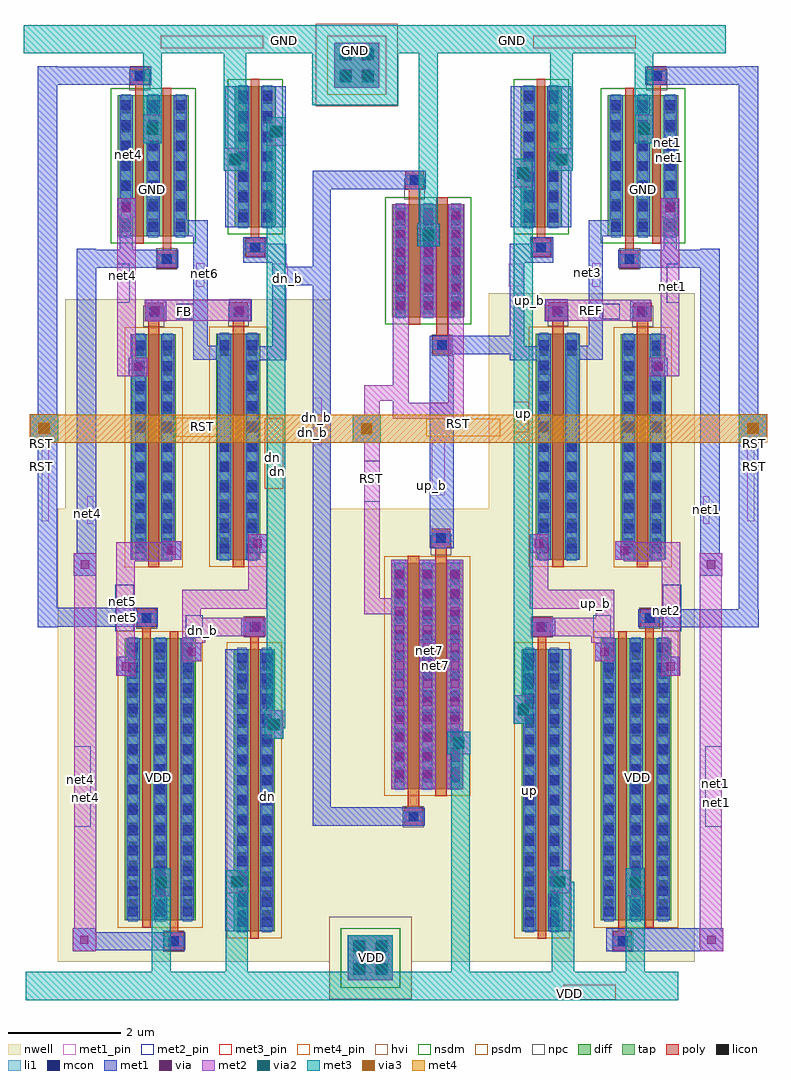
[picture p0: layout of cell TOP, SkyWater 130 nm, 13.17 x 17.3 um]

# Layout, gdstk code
from math import pi, radians
import gdstk
lib = gdstk.Library(unit=1e-6, precision=1e-09)
def R(c, l, rs):  # rectangles x0, y0, x1, y1
    for r in rs: c.add(gdstk.rectangle(r[:2], r[2:], *l))
def A(c, l, x, y, w, h, nx, ny, dx, dy):  # array of equal rectangles
    R(c, l, [(x+i*dx, y+j*dy, x+i*dx+w, y+j*dy+h) for i in range(nx) for j in range(ny)])
def P(c, l, *ps):  # polygons
    for p in ps: c.add(gdstk.Polygon(p, *l))
nwell = (64, 20)
diff = (65, 20)
tap = (65, 44)
poly = (66, 20)
licon = (66, 44)
li1 = (67, 20)
mcon = (67, 44)
met1_pin = (68, 16)
met1 = (68, 20)
via = (68, 44)
met2_pin = (69, 16)
met2 = (69, 20)
via2 = (69, 44)
met3_pin = (70, 16)
met3 = (70, 20)
via3 = (70, 44)
met4_pin = (71, 16)
met4 = (71, 20)
hvi = (75, 20)
nsdm = (93, 44)
psdm = (94, 20)
npc = (95, 20)

via_new_1 = lib.new_cell('via_new$1')
R(via_new_1, via, [(0.115,-0.075,0.265,0.075)])
via_new_1.add(gdstk.FlexPath([(0,0),(0.38,0)], 0.38, ends="flush", simple_path=True, layer=68, datatype=20))  # met1
via_new_1.add(gdstk.FlexPath([(0,0),(0.38,0)], 0.38, ends="flush", simple_path=True, layer=69, datatype=20))  # met2

via_new_4 = lib.new_cell('via_new$4')
R(via_new_4, via, [(0.09,-0.075,0.24,0.075)])
via_new_4.add(gdstk.FlexPath([(0,0),(0.33,0)], 0.33, ends="flush", simple_path=True, layer=68, datatype=20))  # met1
via_new_4.add(gdstk.FlexPath([(0,0),(0.33,0)], 0.33, ends="flush", simple_path=True, layer=69, datatype=20))  # met2

via_new_3 = lib.new_cell('via_new$3')
R(via_new_3, via, [(0.175,-0.075,0.325,0.075)])
R(via_new_3, via2, [(0.15,-0.1,0.35,0.1)])
via_new_3.add(gdstk.FlexPath([(0,0),(0.5,0)], 0.33, ends="flush", simple_path=True, layer=68, datatype=20))  # met1
via_new_3.add(gdstk.FlexPath([(0,0),(0.5,0)], 0.33, ends="flush", simple_path=True, layer=69, datatype=20))  # met2
via_new_3.add(gdstk.FlexPath([(0,0),(0.5,0)], 0.33, ends="flush", simple_path=True, layer=70, datatype=20))  # met3

via_new = lib.new_cell('via_new')
R(via_new, via, [(0.125,-0.075,0.275,0.075)])
R(via_new, via2, [(0.1,-0.1,0.3,0.1)])
via_new.add(gdstk.FlexPath([(0,0),(0.4,0)], 0.4, ends="flush", simple_path=True, layer=68, datatype=20))  # met1
via_new.add(gdstk.FlexPath([(0,0),(0.4,0)], 0.4, ends="flush", simple_path=True, layer=69, datatype=20))  # met2
via_new.add(gdstk.FlexPath([(0,0),(0.4,0)], 0.4, ends="flush", simple_path=True, layer=70, datatype=20))  # met3

via_new_7 = lib.new_cell('via_new$7')
A(via_new_7, via, 0.125, -0.075, 0.15, 0.15, 6, 1, 0.32, 0)
via_new_7.add(gdstk.FlexPath([(0,0),(2,0)], 0.28, ends="flush", simple_path=True, layer=68, datatype=20))  # met1
via_new_7.add(gdstk.FlexPath([(0,0),(2,0)], 0.28, ends="flush", simple_path=True, layer=69, datatype=20))  # met2

via_new_6 = lib.new_cell('via_new$6')
A(via_new_6, via, 0.195, -0.075, 0.15, 0.15, 12, 1, 0.32, 0)
via_new_6.add(gdstk.FlexPath([(0,0),(4.06,0)], 0.29, ends="flush", simple_path=True, layer=68, datatype=20))  # met1
via_new_6.add(gdstk.FlexPath([(0,0),(4.06,0)], 0.29, ends="flush", simple_path=True, layer=69, datatype=20))  # met2

via_new_9 = lib.new_cell('via_new$9')
R(via_new_9, via2, [(0.1,-0.1,0.3,0.1)])
via_new_9.add(gdstk.FlexPath([(0,0),(0.4,0)], 0.4, ends="flush", simple_path=True, layer=69, datatype=20))  # met2
via_new_9.add(gdstk.FlexPath([(0,0),(0.4,0)], 0.4, ends="flush", simple_path=True, layer=70, datatype=20))  # met3

via_new_8 = lib.new_cell('via_new$8')
R(via_new_8, via2, [(0.15,-0.1,0.35,0.1)])
R(via_new_8, via3, [(0.15,-0.1,0.35,0.1)])
via_new_8.add(gdstk.FlexPath([(0,0),(0.5,0)], 0.5, ends="flush", simple_path=True, layer=69, datatype=20))  # met2
via_new_8.add(gdstk.FlexPath([(0,0),(0.5,0)], 0.5, ends="flush", simple_path=True, layer=70, datatype=20))  # met3
via_new_8.add(gdstk.FlexPath([(0,0),(0.5,0)], 0.5, ends="flush", simple_path=True, layer=71, datatype=20))  # met4

via_new_10 = lib.new_cell('via_new$10')
R(via_new_10, via, [(0.175,-0.075,0.325,0.075)])
R(via_new_10, via2, [(0.15,-0.1,0.35,0.1)])
R(via_new_10, via3, [(0.15,-0.1,0.35,0.1)])
via_new_10.add(gdstk.FlexPath([(0,0),(0.5,0)], 0.5, ends="flush", simple_path=True, layer=68, datatype=20))  # met1
via_new_10.add(gdstk.FlexPath([(0,0),(0.5,0)], 0.5, ends="flush", simple_path=True, layer=69, datatype=20))  # met2
via_new_10.add(gdstk.FlexPath([(0,0),(0.5,0)], 0.5, ends="flush", simple_path=True, layer=70, datatype=20))  # met3
via_new_10.add(gdstk.FlexPath([(0,0),(0.5,0)], 0.5, ends="flush", simple_path=True, layer=71, datatype=20))  # met4

via_new_13 = lib.new_cell('via_new$13')
R(via_new_13, licon, [(0.145,-0.255,0.315,-0.085), (0.485,-0.255,0.655,-0.085), (0.145,0.085,0.315,0.255), (0.485,0.085,0.655,0.255)])
R(via_new_13, mcon, [(0.135,-0.265,0.305,-0.095), (0.495,-0.265,0.665,-0.095), (0.135,0.095,0.305,0.265), (0.495,0.095,0.665,0.265)])
R(via_new_13, via, [(0.165,-0.235,0.315,-0.085), (0.485,-0.235,0.635,-0.085), (0.165,0.085,0.315,0.235), (0.485,0.085,0.635,0.235)])
R(via_new_13, via2, [(0.1,-0.3,0.3,-0.1), (0.5,-0.3,0.7,-0.1), (0.1,0.1,0.3,0.3), (0.5,0.1,0.7,0.3)])
via_new_13.add(gdstk.FlexPath([(-0.125,0),(0.925,0)], 1.05, ends="flush", simple_path=True, layer=94, datatype=20))  # psdm
via_new_13.add(gdstk.FlexPath([(0,0),(0.8,0)], 0.8, ends="flush", simple_path=True, layer=65, datatype=44))  # tap
via_new_13.add(gdstk.FlexPath([(0,0),(0.8,0)], 0.8, ends="flush", simple_path=True, layer=67, datatype=20))  # li1
via_new_13.add(gdstk.FlexPath([(0,0),(0.8,0)], 0.8, ends="flush", simple_path=True, layer=68, datatype=20))  # met1
via_new_13.add(gdstk.FlexPath([(0,0),(0.8,0)], 0.8, ends="flush", simple_path=True, layer=69, datatype=20))  # met2
via_new_13.add(gdstk.FlexPath([(0,0),(0.8,0)], 0.8, ends="flush", simple_path=True, layer=70, datatype=20))  # met3
via_new_13.add(gdstk.FlexPath([(-0.33,0),(1.13,0)], 1.46, ends="flush", simple_path=True, layer=75, datatype=20))  # hvi

via_new_12 = lib.new_cell('via_new$12')
R(via_new_12, licon, [(0.145,-0.255,0.315,-0.085), (0.485,-0.255,0.655,-0.085), (0.145,0.085,0.315,0.255), (0.485,0.085,0.655,0.255)])
R(via_new_12, mcon, [(0.135,-0.265,0.305,-0.095), (0.495,-0.265,0.665,-0.095), (0.135,0.095,0.305,0.265), (0.495,0.095,0.665,0.265)])
R(via_new_12, via, [(0.165,-0.235,0.315,-0.085), (0.485,-0.235,0.635,-0.085), (0.165,0.085,0.315,0.235), (0.485,0.085,0.635,0.235)])
R(via_new_12, via2, [(0.1,-0.3,0.3,-0.1), (0.5,-0.3,0.7,-0.1), (0.1,0.1,0.3,0.3), (0.5,0.1,0.7,0.3)])
via_new_12.add(gdstk.FlexPath([(0,0),(0.8,0)], 0.8, ends="flush", simple_path=True, layer=65, datatype=44))  # tap
via_new_12.add(gdstk.FlexPath([(0,0),(0.8,0)], 0.8, ends="flush", simple_path=True, layer=67, datatype=20))  # li1
via_new_12.add(gdstk.FlexPath([(0,0),(0.8,0)], 0.8, ends="flush", simple_path=True, layer=68, datatype=20))  # met1
via_new_12.add(gdstk.FlexPath([(0,0),(0.8,0)], 0.8, ends="flush", simple_path=True, layer=69, datatype=20))  # met2
via_new_12.add(gdstk.FlexPath([(0,0),(0.8,0)], 0.8, ends="flush", simple_path=True, layer=70, datatype=20))  # met3
via_new_12.add(gdstk.FlexPath([(-0.33,0),(1.13,0)], 1.46, ends="flush", simple_path=True, layer=75, datatype=20))  # hvi
via_new_12.add(gdstk.FlexPath([(-0.125,0),(0.925,0)], 1.05, ends="flush", simple_path=True, layer=93, datatype=44))  # nsdm
via_new_12.add(gdstk.FlexPath([(-0.125,0),(0.925,0)], 1.05, ends="flush", simple_path=True, layer=64, datatype=20))  # nwell
via_new_12.add(gdstk.FlexPath([(-0.33,0),(1.13,0)], 1.46, ends="flush", simple_path=True, layer=64, datatype=20))  # nwell

via_new_14 = lib.new_cell('via_new$14')
R(via_new_14, via, [(0.125,-0.075,0.275,0.075)])
via_new_14.add(gdstk.FlexPath([(0,0),(0.4,0)], 0.4, ends="flush", simple_path=True, layer=68, datatype=20))  # met1
via_new_14.add(gdstk.FlexPath([(0,0),(0.4,0)], 0.4, ends="flush", simple_path=True, layer=69, datatype=20))  # met2

top = lib.new_cell('TOP')
R(top, nwell, [(-8.688,-10.84,-0.982,-2.817), (-1.046,-10.84,2.603,1.003), (-7.196,-10.613,-6.066,-10.423), (-5.722,-10.613,-4.632,-4.803), (-0.676,-10.613,0.414,-4.803), (0.758,-10.613,1.888,-10.423), (-7.676,-10.423,-6.066,-4.803), (0.758,-10.423,2.368,-4.803), (-2.955,-8.279,-1.815,-8.089), (-2.955,-8.089,-1.325,-3.469), (-7.676,-4.803,-6.546,-4.613), (1.238,-4.803,2.368,-4.613), (-7.555,-4.034,-6.415,0.776), (1.107,-4.034,2.247,0.776), (-6.028,-4.029,-4.888,0.781), (-0.42,-4.029,0.72,0.781), (-2.465,-3.469,-1.325,-3.279), (-8.557,-2.817,-3.846,0.896)])
R(top, diff, [(-5.569,-10.303,-4.839,-5.303), (-0.469,-10.303,0.261,-5.303), (-7.496,-10.113,-6.246,-5.113), (0.938,-10.113,2.188,-5.113), (-2.775,-7.779,-1.505,-3.779), (-7.375,-3.724,-6.595,0.276), (1.287,-3.724,2.067,0.276), (-5.875,-3.719,-5.095,0.281), (-0.213,-3.719,0.567,0.281), (-2.756,0.577,-1.486,2.577), (-7.62,2.01,-6.37,4.51), (1.062,2.01,2.312,4.51), (-5.553,2.173,-4.823,4.673), (-0.485,2.173,0.245,4.673)])
R(top, poly, [(-6.796,-10.646,-6.466,-10.316), (1.158,-10.646,1.488,-10.316), (-5.279,-10.433,-5.129,-5.072), (-0.179,-10.433,-0.029,-5.072), (-6.706,-10.317,-6.556,-4.983), (1.248,-10.317,1.398,-4.983), (-7.186,-10.243,-7.036,-4.915), (1.728,-10.243,1.878,-4.915), (-2.55,-8.437,-2.22,-8.107), (-2.485,-8.115,-2.285,-3.649), (-1.995,-7.909,-1.795,-3.503), (-5.369,-5.073,-5.039,-4.743), (-0.269,-5.073,0.061,-4.743), (-7.276,-4.919,-6.946,-4.589), (1.638,-4.919,1.968,-4.589), (-7.085,-3.854,-6.885,0.507), (1.577,-3.854,1.777,0.507), (-5.585,-3.849,-5.385,0.512), (0.077,-3.849,0.277,0.512), (-2.06,-3.503,-1.73,-3.173), (-2.041,-0.081,-1.711,0.249), (-1.976,0.249,-1.776,2.707), (-7.15,0.505,-6.82,0.835), (1.512,0.505,1.842,0.835), (-5.65,0.51,-5.32,0.84), (0.012,0.51,0.342,0.84), (-6.92,1.447,-6.59,1.777), (1.282,1.447,1.612,1.777), (-5.353,1.648,-5.023,1.978), (-0.285,1.648,0.045,1.978), (-6.83,1.774,-6.68,4.64), (1.372,1.774,1.522,4.64), (-7.31,1.88,-7.16,4.709), (1.852,1.88,2.002,4.709), (-5.263,1.978,-5.113,4.803), (-0.195,1.978,-0.045,4.803), (-2.531,2.839,-2.201,3.174), (-7.4,4.692,-7.07,5.022), (1.762,4.692,2.092,5.022)])
P(top, poly, [(-2.466,0.447),(-2.466,2.84),(-2.399,2.84),(-2.266,2.84),(-2.266,0.447)])
A(top, licon, -5.509, -10.098, 0.17, 0.17, 1, 14, 0, 0.34)
A(top, licon, -5.069, -10.098, 0.17, 0.17, 1, 14, 0, 0.34)
A(top, licon, -0.409, -10.098, 0.17, 0.17, 1, 14, 0, 0.34)
A(top, licon, 0.031, -10.098, 0.17, 0.17, 1, 14, 0, 0.34)
A(top, licon, -7.436, -9.908, 0.17, 0.17, 3, 14, 0.48, 0.34)
A(top, licon, 0.998, -9.908, 0.17, 0.17, 3, 14, 0.48, 0.34)
A(top, licon, -2.715, -7.564, 0.17, 0.17, 3, 11, 0.49, 0.34)
A(top, licon, -7.315, -3.509, 0.17, 0.17, 1, 11, 0, 0.34)
A(top, licon, -6.825, -3.509, 0.17, 0.17, 1, 11, 0, 0.34)
A(top, licon, 1.347, -3.509, 0.17, 0.17, 1, 11, 0, 0.34)
A(top, licon, 1.837, -3.509, 0.17, 0.17, 1, 11, 0, 0.34)
A(top, licon, -5.815, -3.504, 0.17, 0.17, 1, 6, 0, 0.34)
A(top, licon, -5.325, -3.504, 0.17, 0.17, 1, 11, 0, 0.34)
A(top, licon, -0.153, -3.504, 0.17, 0.17, 1, 11, 0, 0.34)
A(top, licon, 0.337, -3.504, 0.17, 0.17, 1, 6, 0, 0.34)
A(top, licon, -2.696, 0.642, 0.17, 0.17, 3, 6, 0.49, 0.34)
A(top, licon, -7.56, 2.155, 0.17, 0.17, 3, 7, 0.48, 0.34)
A(top, licon, 1.122, 2.155, 0.17, 0.17, 3, 7, 0.48, 0.34)
A(top, licon, -5.493, 2.318, 0.17, 0.17, 1, 7, 0, 0.34)
A(top, licon, -5.053, 2.318, 0.17, 0.17, 1, 7, 0, 0.34)
A(top, licon, -0.425, 2.318, 0.17, 0.17, 1, 7, 0, 0.34)
A(top, licon, 0.015, 2.318, 0.17, 0.17, 1, 7, 0, 0.34)
R(top, licon, [(-6.716,-10.566,-6.546,-10.396), (1.238,-10.566,1.408,-10.396), (-2.47,-8.357,-2.3,-8.187), (-5.289,-4.993,-5.119,-4.823), (-0.189,-4.993,-0.019,-4.823), (-7.196,-4.839,-7.026,-4.669), (1.718,-4.839,1.888,-4.669), (-1.98,-3.423,-1.81,-3.253), (-5.815,-0.104,-5.645,0.066), (0.337,-0.104,0.507,0.066), (-1.961,-0.001,-1.791,0.169), (-7.07,0.585,-6.9,0.755), (1.592,0.585,1.762,0.755), (-5.57,0.59,-5.4,0.76), (0.092,0.59,0.262,0.76), (-6.84,1.527,-6.67,1.697), (1.362,1.527,1.532,1.697), (-5.273,1.728,-5.103,1.898), (-0.205,1.728,-0.035,1.898), (-2.451,2.924,-2.281,3.094), (-7.32,4.772,-7.15,4.942), (1.842,4.772,2.012,4.942)])
A(top, li1, -7.436, -10.133, 0.17, 5.04, 3, 1, 0.48, 0)
A(top, li1, 0.998, -10.133, 0.17, 5.04, 3, 1, 0.48, 0)
A(top, li1, -2.715, -7.799, 0.17, 4.04, 3, 1, 0.49, 0)
A(top, li1, -2.696, 0.557, 0.17, 2.04, 3, 1, 0.49, 0)
A(top, li1, -7.56, 1.99, 0.17, 2.54, 3, 1, 0.48, 0)
A(top, li1, 1.122, 1.99, 0.17, 2.54, 3, 1, 0.48, 0)
R(top, li1, [(-6.796,-10.566,-6.466,-10.396), (1.158,-10.566,1.488,-10.396), (-5.509,-10.323,-5.339,-5.283), (-5.069,-10.323,-4.899,-5.283), (-0.409,-10.323,-0.239,-5.283), (0.031,-10.323,0.201,-5.283), (-2.55,-8.357,-2.22,-8.187), (-5.369,-4.993,-5.039,-4.823), (-0.269,-4.993,0.061,-4.823), (-7.276,-4.839,-6.946,-4.669), (1.638,-4.839,1.968,-4.669), (-7.315,-3.744,-7.145,0.296), (-6.825,-3.744,-6.655,0.296), (1.347,-3.744,1.517,0.296), (1.837,-3.744,2.007,0.296), (-5.815,-3.739,-5.645,0.301), (-5.325,-3.739,-5.155,0.301), (-0.153,-3.739,0.017,0.301), (0.337,-3.739,0.507,0.301), (-2.06,-3.423,-1.73,-3.253), (-2.041,-0.001,-1.711,0.169), (-7.15,0.585,-6.82,0.755), (1.512,0.585,1.842,0.755), (-5.65,0.59,-5.32,0.76), (0.012,0.59,0.342,0.76), (-6.92,1.527,-6.59,1.697), (1.282,1.527,1.612,1.697), (-5.353,1.728,-5.023,1.898), (-0.285,1.728,0.045,1.898), (-5.493,2.153,-5.323,4.693), (-5.053,2.153,-4.883,4.693), (-0.425,2.153,-0.255,4.693), (0.015,2.153,0.185,4.693), (-2.531,2.924,-2.201,3.094), (-7.4,4.772,-7.07,4.942), (1.762,4.772,2.092,4.942)])
A(top, mcon, -5.509, -10.228, 0.17, 0.17, 1, 14, 0, 0.36)
A(top, mcon, -5.069, -10.228, 0.17, 0.17, 1, 14, 0, 0.36)
A(top, mcon, -0.409, -10.228, 0.17, 0.17, 1, 14, 0, 0.36)
A(top, mcon, 0.031, -10.228, 0.17, 0.17, 1, 14, 0, 0.36)
A(top, mcon, -7.436, -10.038, 0.17, 0.17, 3, 14, 0.48, 0.36)
A(top, mcon, 0.998, -10.038, 0.17, 0.17, 3, 14, 0.48, 0.36)
A(top, mcon, -2.715, -7.664, 0.17, 0.17, 3, 11, 0.49, 0.36)
A(top, mcon, -7.315, -3.609, 0.17, 0.17, 1, 11, 0, 0.36)
A(top, mcon, -6.825, -3.609, 0.17, 0.17, 1, 11, 0, 0.36)
A(top, mcon, 1.347, -3.609, 0.17, 0.17, 1, 11, 0, 0.36)
A(top, mcon, 1.837, -3.609, 0.17, 0.17, 1, 11, 0, 0.36)
A(top, mcon, -5.815, -3.604, 0.17, 0.17, 1, 6, 0, 0.36)
A(top, mcon, -5.325, -3.604, 0.17, 0.17, 1, 11, 0, 0.36)
A(top, mcon, -0.153, -3.604, 0.17, 0.17, 1, 11, 0, 0.36)
A(top, mcon, 0.337, -3.604, 0.17, 0.17, 1, 6, 0, 0.36)
A(top, mcon, -2.696, 0.772, 0.17, 0.17, 3, 5, 0.49, 0.36)
A(top, mcon, -7.56, 2.095, 0.17, 0.17, 3, 7, 0.48, 0.36)
A(top, mcon, 1.122, 2.095, 0.17, 0.17, 3, 7, 0.48, 0.36)
A(top, mcon, -5.493, 2.258, 0.17, 0.17, 1, 7, 0, 0.36)
A(top, mcon, -5.053, 2.258, 0.17, 0.17, 1, 7, 0, 0.36)
A(top, mcon, -0.425, 2.258, 0.17, 0.17, 1, 7, 0, 0.36)
A(top, mcon, 0.015, 2.258, 0.17, 0.17, 1, 7, 0, 0.36)
R(top, mcon, [(-6.716,-10.566,-6.546,-10.396), (1.238,-10.566,1.408,-10.396), (-2.47,-8.357,-2.3,-8.187), (-5.289,-4.993,-5.119,-4.823), (-0.189,-4.993,-0.019,-4.823), (-7.196,-4.839,-7.026,-4.669), (1.718,-4.839,1.888,-4.669), (-1.98,-3.423,-1.81,-3.253), (-5.815,-0.004,-5.645,0.166), (0.337,-0.004,0.507,0.166), (-1.961,-0.001,-1.791,0.169), (-7.07,0.585,-6.9,0.755), (1.592,0.585,1.762,0.755), (-5.57,0.59,-5.4,0.76), (0.092,0.59,0.262,0.76), (-6.84,1.527,-6.67,1.697), (1.362,1.527,1.532,1.697), (-5.273,1.728,-5.103,1.898), (-0.205,1.728,-0.035,1.898), (-2.451,2.924,-2.281,3.094), (-7.32,4.772,-7.15,4.942), (1.842,4.772,2.012,4.942)])
R(top, met1_pin, [(-6.986,-8.085,-6.756,-7.25), (1.448,-8.085,1.678,-7.25), (-5.022,-8.034,-4.928,-7.543), (-0.38,-8.034,-0.286,-7.543), (-8.162,-3.083,-8.058,-2.599), (2.75,-3.083,2.854,-2.599), (-8.973,-3.039,-8.846,-1.352), (3.53,-3.039,3.657,-1.352), (-2.064,-2.58,-1.825,-1.605), (-4.168,-1.687,-4.007,-0.847), (-6.234,1.121,-6.094,1.536), (0.786,1.121,0.926,1.536), (-4.861,1.129,-4.611,1.528), (-0.697,1.129,-0.447,1.528), (-7.009,2.623,-6.932,3.235), (1.624,2.623,1.701,3.235), (-7.525,3.08,-7.36,3.821), (2.052,3.08,2.217,3.821)])
A(top, met1, -7.466, -10.113, 0.23, 5, 3, 1, 0.48, 0)
A(top, met1, 0.968, -10.113, 0.23, 5, 3, 1, 0.48, 0)
A(top, met1, -2.775, -7.779, 0.29, 4, 3, 1, 0.49, 0)
A(top, met1, -2.751, 0.577, 0.28, 2, 3, 1, 0.49, 0)
R(top, met1, [(1.034,-10.654,2.702,-10.254), (-8.412,-10.642,-6.428,-10.32), (-5.717,-10.303,-5.309,-5.303), (-5.099,-10.303,-4.869,-5.303), (-0.439,-10.303,-0.209,-5.303), (0.001,-10.303,0.409,-5.303), (-2.588,-8.433,-2.182,-8.111), (-5.438,-5.069,-5.001,-4.747), (-0.307,-5.069,0.13,-4.747), (3.38,-4.918,3.728,5.028), (-9.044,-4.915,-8.696,5.028), (-9.046,-4.907,-6.911,-4.569), (-8.353,-3.977,-8.005,1.787), (2.697,-3.961,3.045,1.787), (-7.393,-3.724,-7.115,0.276), (-6.855,-3.724,-6.625,0.276), (1.317,-3.724,1.547,0.276), (1.807,-3.724,2.085,0.276), (-5.859,-3.719,-5.615,0.281), (-5.355,-3.719,-5.125,0.281), (-0.183,-3.719,0.047,0.281), (0.307,-3.719,0.551,0.281), (-2.098,-3.52,-1.692,-2.933), (-1.692,-3.52,-1.673,-3.263), (-2.079,-3.374,-1.673,-0.077), (-2.098,-2.934,-2.064,0.245), (-2.079,-0.077,-0.471,0.245), (-5.656,0.51,-5.25,0.892), (-0.058,0.51,0.348,0.892), (-8.349,1.451,-6.552,1.773), (1.244,1.451,3.041,1.773), (-5.398,1.546,-4.993,1.992), (-4.993,1.546,-4.866,1.635), (-0.442,1.546,-0.315,1.635), (-0.315,1.546,0.09,1.992), (-7.11,2.01,-6.88,4.51), (-6.63,2.01,-6.4,4.51), (-6.4,2.01,-6.257,2.072), (0.949,2.01,1.092,2.072), (1.092,2.01,1.322,4.51), (1.572,2.01,1.802,4.51), (-5.722,2.173,-5.523,4.673), (-5.083,2.173,-4.648,4.673), (-0.66,2.173,-0.225,4.673), (0.215,2.173,0.414,4.673), (-5.523,2.174,-5.293,4.674), (-0.015,2.174,0.215,4.674), (-2.569,2.848,-2.163,3.17), (-9.025,4.696,-7.032,5.018), (1.724,4.696,3.717,5.018)])
P(top, met1, [(1.6,-4.915),(1.6,-4.593),(3.731,-4.593),(3.731,-4.915),(3.525,-4.915)],
  [(2.052,1.598),(2.052,4.51),(2.282,4.51),(2.282,1.598),(2.127,1.598)],
  [(-7.59,1.598),(-7.59,4.51),(-7.36,4.51),(-7.36,1.598),(-7.435,1.598)])
R(top, met2_pin, [(-8.399,-8.456,-8.105,-7.023), (2.789,-8.456,3.083,-7.023), (-2.283,-6.255,-1.993,-5.135), (-6.422,-5.103,-6.114,-4.704), (0.806,-5.103,1.114,-4.704), (-7.667,-4.988,-7.339,-4.165), (2.031,-4.988,2.359,-4.165), (-3.26,-2.69,-2.98,-1.967), (-6.58,0.543,-6.276,0.816), (0.968,0.543,1.272,0.816), (-7.637,0.831,-7.415,1.527), (2.107,0.831,2.329,1.527)])
R(top, met2, [(-8.399,-10.59,-8.008,-4.003), (2.692,-10.59,3.083,-4.003), (-6.156,-5.193,-6.074,-5.069), (0.766,-5.193,0.848,-5.069), (-5.476,-5.076,-5.318,-4.747), (0.01,-5.076,0.168,-4.747), (-7.637,-0.472,-7.305,-0.408), (1.997,-0.472,2.329,-0.408), (-5.776,0.511,-5.636,0.891), (0.328,0.511,0.468,0.891)])
R(top, met3_pin, [(0.278,-11.519,1.201,-11.249), (-3.451,-11.042,-2.823,-10.452), (-5.022,-2.461,-4.692,-1.21), (-0.604,-1.463,-0.338,-0.922), (-3.789,5.204,-3.149,5.388), (-6.861,5.342,-5.048,5.565), (-0.26,5.342,1.553,5.565)])
R(top, met3, [(-9.251,-11.522,2.313,-11.022), (-5.712,-11.319,-5.317,-9.609), (-4.173,4.331,-2.655,5.362), (-4.143,4.624,-2.754,4.986), (-9.286,5.252,3.15,5.752)])
R(top, met4_pin, [(-6.595,-1.544,-5.645,-1.208), (-2.159,-1.53,-0.848,-1.221)])
R(top, met4, [(-9.034,-1.648,-3.362,-1.149), (-2.977,-1.648,3.747,-1.147)])
R(top, nsdm, [(-2.881,0.452,-1.361,2.702), (-7.745,1.885,-6.245,4.635), (0.937,1.885,2.437,4.635), (-5.678,2.048,-4.698,4.798), (-0.61,2.048,0.37,4.798)])
R(top, psdm, [(-5.694,-10.428,-4.714,-5.178), (-0.594,-10.428,0.386,-5.178), (-7.621,-10.238,-6.121,-4.988), (0.813,-10.238,2.313,-4.988), (-2.9,-7.904,-1.38,-3.654), (-7.5,-3.849,-6.47,0.401), (1.162,-3.849,2.192,0.401), (-6,-3.844,-4.97,0.406), (-0.338,-3.844,0.692,0.406)])
R(top, npc, [(-6.816,-10.666,-6.446,-10.296), (1.138,-10.666,1.508,-10.296), (-2.57,-8.457,-2.2,-8.087), (-5.389,-5.093,-5.019,-4.723), (-0.289,-5.093,0.081,-4.723), (-7.296,-4.939,-6.926,-4.569), (1.618,-4.939,1.988,-4.569), (-2.08,-3.644,-1.71,-3.274), (-2.061,-0.101,-1.691,0.269), (-7.17,0.411,-6.8,0.781), (1.492,0.411,1.862,0.781), (-5.67,0.416,-5.3,0.786), (-0.008,0.416,0.362,0.786), (-6.94,1.427,-6.57,1.797), (1.262,1.427,1.632,1.797), (-5.373,1.628,-5.003,1.998), (-0.305,1.628,0.065,1.998), (-2.551,2.667,-2.181,3.037), (-7.42,4.6,-7.05,4.97), (1.742,4.6,2.112,4.97)])
top.add(gdstk.FlexPath([(-0.153,-0.063),(-0.549,-0.063),(-0.549,1.759),(-0.035,1.759)], 0.25, ends="flush", simple_path=True, layer=68, datatype=20))  # met1
top.add(gdstk.FlexPath([(1.191,2.174),(0.85,2.174),(0.85,-0.055),(0.444,-0.055)], 0.25, ends="flush", simple_path=True, layer=68, datatype=20))  # met1
top.add(gdstk.FlexPath([(-5.155,-0.063),(-4.759,-0.063),(-4.759,1.759),(-5.273,1.759)], 0.25, ends="flush", simple_path=True, layer=68, datatype=20))  # met1
top.add(gdstk.FlexPath([(-6.499,2.174),(-6.158,2.174),(-6.158,-0.055),(-5.752,-0.055)], 0.25, ends="flush", simple_path=True, layer=68, datatype=20))  # met1
top.add(gdstk.FlexPath([(-2.551,3.009),(-4.007,3.009),(-4.007,-8.271),(-2.562,-8.271)], 0.322, ends="flush", simple_path=True, layer=68, datatype=20))  # met1
top.add(gdstk.FlexPath([(-4.007,1.311),(-4.884,1.311)], 0.33, ends="flush", simple_path=True, layer=68, datatype=20))  # met1
top.add(gdstk.FlexPath([(2.164,2.42),(2.164,-0.409)], 0.33, ends="flush", simple_path=True, layer=69, datatype=20))  # met2
top.add(gdstk.FlexPath([(0.362,0.701),(1.551,0.701)], 0.38, ends="flush", simple_path=True, layer=69, datatype=20))  # met2
top.add(gdstk.FlexPath([(1.347,-3.579),(2.178,-3.579),(2.178,-5.773)], 0.33, ends="flush", simple_path=True, layer=69, datatype=20))  # met2
top.add(gdstk.FlexPath([(0.166,-4.911),(1.066,-4.911)], 0.33, ends="flush", simple_path=True, layer=69, datatype=20))  # met2
top.add(gdstk.FlexPath([(-0.16,-3.481),(-0.16,-4.421),(1.01,-4.421),(1.01,-5.523)], 0.33, ends="flush", simple_path=True, layer=69, datatype=20))  # met2
top.add(gdstk.FlexPath([(-7.472,2.42),(-7.472,-0.409)], 0.33, ends="flush", simple_path=True, layer=69, datatype=20))  # met2
top.add(gdstk.FlexPath([(-5.67,0.701),(-6.859,0.701)], 0.38, ends="flush", simple_path=True, layer=69, datatype=20))  # met2
top.add(gdstk.FlexPath([(-6.655,-3.579),(-7.486,-3.579),(-7.486,-5.773)], 0.33, ends="flush", simple_path=True, layer=69, datatype=20))  # met2
top.add(gdstk.FlexPath([(-5.474,-4.911),(-6.374,-4.911)], 0.33, ends="flush", simple_path=True, layer=69, datatype=20))  # met2
top.add(gdstk.FlexPath([(-5.148,-3.481),(-5.148,-4.421),(-6.318,-4.421),(-6.318,-5.523)], 0.33, ends="flush", simple_path=True, layer=69, datatype=20))  # met2
top.add(gdstk.FlexPath([(-2.611,-0.766),(-3.12,-0.766),(-3.12,-4.544),(-2.628,-4.544)], 0.28, ends="flush", simple_path=True, layer=69, datatype=20))  # met2
top.add(gdstk.FlexPath([(-1.631,0.949),(-1.631,-1.081),(-2.611,-1.081),(-2.611,0.829),(-2.611,0.829)], 0.28, ends="flush", simple_path=True, layer=69, datatype=20))  # met2
top.add(gdstk.FlexPath([(1.701,4.165),(1.701,5.399)], 0.33, ends="flush", simple_path=True, layer=70, datatype=20))  # met3
top.add(gdstk.FlexPath([(1.546,-9.612),(1.546,-11.227)], 0.33, ends="flush", simple_path=True, layer=70, datatype=20))  # met3
top.add(gdstk.FlexPath([(0.263,-9.427),(0.263,-11.392)], 0.4, ends="flush", simple_path=True, layer=70, datatype=20))  # met3
top.add(gdstk.FlexPath([(0.239,3.374),(0.239,5.691)], 0.4, ends="flush", simple_path=True, layer=70, datatype=20))  # met3
top.add(gdstk.FlexPath([(-7.009,4.165),(-7.009,5.399)], 0.33, ends="flush", simple_path=True, layer=70, datatype=20))  # met3
top.add(gdstk.FlexPath([(-6.854,-9.612),(-6.854,-11.227)], 0.33, ends="flush", simple_path=True, layer=70, datatype=20))  # met3
top.add(gdstk.FlexPath([(-5.547,3.374),(-5.547,5.691)], 0.4, ends="flush", simple_path=True, layer=70, datatype=20))  # met3
top.add(gdstk.FlexPath([(-1.548,-6.97),(-1.548,-11.353),(-1.817,-11.353)], 0.33, ends="flush", simple_path=True, layer=70, datatype=20))  # met3
top.add(gdstk.FlexPath([(-2.121,2.076),(-2.121,5.752)], 0.33, ends="flush", simple_path=True, layer=70, datatype=20))  # met3
top.add(gdstk.FlexPath([(-4.818,-6.704),(-4.818,4.118)], 0.33, ends="flush", simple_path=True, layer=70, datatype=20))  # met3
top.add(gdstk.FlexPath([(-0.439,-6.2),(-0.439,3.296)], 0.33, ends="flush", simple_path=True, layer=70, datatype=20))  # met3
top.add(gdstk.Reference(via_new_1, (1.454,0.697), x_reflection=True))
top.add(gdstk.Reference(via_new_4, (2.004,-5.608)))
top.add(gdstk.Reference(via_new_3, (1.7,4.165), rotation=3*pi/2))
top.add(gdstk.Reference(via_new_3, (1.546,-9.187), rotation=3*pi/2))
top.add(gdstk.Reference(via_new_4, (1.96,-0.142), rotation=3*pi/2))
top.add(gdstk.Reference(via_new_4, (2.164,2.352), rotation=pi/2))
top.add(gdstk.Reference(via_new_4, (1.36,-3.393), rotation=3*pi/2))
top.add(gdstk.Reference(via_new_1, (-0.04,0.701), x_reflection=True))
top.add(gdstk.Reference(via_new, (0.004,-9.427)))
top.add(gdstk.Reference(via_new_4, (-0.16,-3.267), rotation=3*pi/2))
top.add(gdstk.Reference(via_new, (0.039,3.374)))
top.add(gdstk.Reference(via_new_4, (-0.308,-4.911)))
top.add(gdstk.Reference(via_new_4, (1.005,-5.193), rotation=3*pi/2))
top.add(gdstk.Reference(via_new_1, (-6.762,0.697), rotation=pi))
top.add(gdstk.Reference(via_new_4, (-7.312,-5.608), rotation=pi, x_reflection=True))
top.add(gdstk.Reference(via_new_3, (-7.008,4.165), rotation=3*pi/2, x_reflection=True))
top.add(gdstk.Reference(via_new_3, (-6.854,-9.187), rotation=3*pi/2, x_reflection=True))
top.add(gdstk.Reference(via_new_4, (-7.268,-0.142), rotation=3*pi/2, x_reflection=True))
top.add(gdstk.Reference(via_new_4, (-7.472,2.352), rotation=pi/2, x_reflection=True))
top.add(gdstk.Reference(via_new_4, (-6.668,-3.393), rotation=3*pi/2, x_reflection=True))
top.add(gdstk.Reference(via_new_1, (-5.268,0.701), rotation=pi))
top.add(gdstk.Reference(via_new, (-5.312,-9.427), rotation=pi, x_reflection=True))
top.add(gdstk.Reference(via_new_4, (-5.148,-3.267), rotation=3*pi/2, x_reflection=True))
top.add(gdstk.Reference(via_new, (-5.347,3.374), rotation=pi, x_reflection=True))
top.add(gdstk.Reference(via_new_4, (-5,-4.911), rotation=pi, x_reflection=True))
top.add(gdstk.Reference(via_new_4, (-6.313,-5.193), rotation=3*pi/2, x_reflection=True))
r = gdstk.Reference(via_new_7, (-1.631,2.577), rotation=3*pi/2, x_reflection=True); r.repetition = gdstk.Repetition(1, 3, v1=(0,0), v2=(-0.49,0)); top.add(r)
r = gdstk.Reference(via_new_6, (-2.628,-7.784), rotation=pi/2, x_reflection=True); r.repetition = gdstk.Repetition(1, 3, v1=(0,0), v2=(0.49,0)); top.add(r)
top.add(gdstk.Reference(via_new_9, (-1.781,-6.97)))
top.add(gdstk.Reference(via_new_9, (-2.116,2.232), rotation=3*pi/2))
top.add(gdstk.Reference(via_new_3, (-4.82,4.118), rotation=3*pi/2))
top.add(gdstk.Reference(via_new_3, (-4.857,-6.39), rotation=3*pi/2))
top.add(gdstk.Reference(via_new_3, (-0.445,3.382), rotation=3*pi/2))
top.add(gdstk.Reference(via_new_3, (-0.439,-6.125), rotation=3*pi/2))
top.add(gdstk.Reference(via_new_8, (-3.46,-1.398)))
top.add(gdstk.Reference(via_new_10, (-8.68,-1.39), rotation=pi, x_reflection=True))
top.add(gdstk.Reference(via_new_10, (3.382,-1.39)))
top.add(gdstk.Reference(via_new_13, (-3.789,5.044)))
top.add(gdstk.Reference(via_new_12, (-3.547,-10.776)))
top.add(gdstk.Reference(via_new_14, (2.688,-3.803)))
top.add(gdstk.Reference(via_new_14, (2.702,-10.454)))
top.add(gdstk.Reference(via_new_14, (-8.004,-3.803), rotation=pi, x_reflection=True))
top.add(gdstk.Reference(via_new_14, (-8.018,-10.454), rotation=pi, x_reflection=True))
top.add(gdstk.Label('GND', (-0.634,5.489), layer=70, texttype=16))
top.add(gdstk.Label('VDD', (0.374,-11.409), layer=70, texttype=16))
top.add(gdstk.Label('GND', (-4.674,5.489), layer=70, texttype=16))
top.add(gdstk.Label('dn', (-4.79,-2.161), layer=70, texttype=16))
top.add(gdstk.Label('up', (-0.439,-1.128), layer=70, texttype=16))
top.add(gdstk.Label('GND', (-3.403,5.296), layer=70, texttype=16))
top.add(gdstk.Label('VDD', (-3.122,-10.776), layer=70, texttype=16))
top.add(gdstk.Label('RST', (-8.973,-2.061), layer=68, texttype=16))
top.add(gdstk.Label('RST', (3.657,-2.061), layer=68, texttype=16))
top.add(gdstk.Label('net1', (2.818,-2.832), layer=68, texttype=16))
top.add(gdstk.Label('net1', (2.127,3.673), layer=68, texttype=16))
top.add(gdstk.Label('GND', (1.701,2.842), layer=68, texttype=16))
top.add(gdstk.Label('VDD', (1.591,-7.572), layer=68, texttype=16))
top.add(gdstk.Label('net6', (-6.094,1.349), layer=68, texttype=16))
top.add(gdstk.Label('up', (-0.331,-7.811), layer=68, texttype=16))
top.add(gdstk.Label('net3', (0.707,1.364), layer=68, texttype=16))
top.add(gdstk.Label('up_b', (-0.329,0.874), layer=68, texttype=16))
top.add(gdstk.Label('net4', (-8.162,-2.901), layer=68, texttype=16))
top.add(gdstk.Label('net4', (-7.427,3.462), layer=68, texttype=16))
top.add(gdstk.Label('GND', (-7.009,2.842), layer=68, texttype=16))
top.add(gdstk.Label('VDD', (-6.899,-7.572), layer=68, texttype=16))
top.add(gdstk.Label('dn_b', (-4.611,1.259), layer=68, texttype=16))
top.add(gdstk.Label('dn', (-4.962,-7.913), layer=68, texttype=16))
top.add(gdstk.Label('up_b', (-2.064,-2.412), layer=68, texttype=16))
top.add(gdstk.Label('dn_b', (-4.168,-1.46), layer=68, texttype=16))
top.add(gdstk.Label('net1', (2.986,-8.018), layer=69, texttype=16))
top.add(gdstk.Label('net4', (-8.188,-7.931), layer=69, texttype=16))
top.add(gdstk.Label('net1', (2.208,1.119), layer=69, texttype=16))
top.add(gdstk.Label('net2', (2.101,-4.613), layer=69, texttype=16))
top.add(gdstk.Label('up_b', (0.834,-4.489), layer=69, texttype=16))
top.add(gdstk.Label('REF', (0.773,0.701), layer=69, texttype=16))
top.add(gdstk.Label('net4', (-7.54,1.325), layer=69, texttype=16))
top.add(gdstk.Label('net5', (-7.514,-4.745), layer=69, texttype=16))
top.add(gdstk.Label('dn_b', (-6.114,-4.971), layer=69, texttype=16))
top.add(gdstk.Label('FB', (-6.447,0.682), layer=69, texttype=16))
top.add(gdstk.Label('RST', (-3.12,-2.281), layer=69, texttype=16))
top.add(gdstk.Label('net7', (-1.993,-5.586), layer=69, texttype=16))
top.add(gdstk.Label('GND', (-0.136,5.463), layer=70, texttype=5))
top.add(gdstk.Label('VDD', (0.75,-11.371), layer=70, texttype=5))
top.add(gdstk.Label('GND', (-5.172,5.463), layer=70, texttype=5))
top.add(gdstk.Label('dn', (-4.888,-1.902), layer=70, texttype=5))
top.add(gdstk.Label('up', (-0.439,-1.146), layer=70, texttype=5))
top.add(gdstk.Label('GND', (-3.351,5.388), layer=70, texttype=5))
top.add(gdstk.Label('VDD', (-3.062,-10.691), layer=70, texttype=5))
top.add(gdstk.Label('RST', (-8.973,-1.656), layer=68, texttype=5))
top.add(gdstk.Label('RST', (3.657,-1.656), layer=68, texttype=5))
top.add(gdstk.Label('net1', (2.8,-2.764), layer=68, texttype=5))
top.add(gdstk.Label('net1', (2.159,3.402), layer=68, texttype=5))
top.add(gdstk.Label('GND', (1.701,2.99), layer=68, texttype=5))
top.add(gdstk.Label('VDD', (1.551,-7.531), layer=68, texttype=5))
top.add(gdstk.Label('net6', (-6.153,1.447), layer=68, texttype=5))
top.add(gdstk.Label('up', (-0.336,-7.736), layer=68, texttype=5))
top.add(gdstk.Label('net3', (0.707,1.278), layer=68, texttype=5))
top.add(gdstk.Label('up_b', (-0.329,0.937), layer=68, texttype=5))
top.add(gdstk.Label('net4', (-8.162,-2.79), layer=68, texttype=5))
top.add(gdstk.Label('net4', (-7.525,3.52), layer=68, texttype=5))
top.add(gdstk.Label('GND', (-7.009,2.99), layer=68, texttype=5))
top.add(gdstk.Label('VDD', (-6.859,-7.531), layer=68, texttype=5))
top.add(gdstk.Label('dn_b', (-4.706,1.405), layer=68, texttype=5))
top.add(gdstk.Label('dn', (-4.978,-7.777), layer=68, texttype=5))
top.add(gdstk.Label('up_b', (-2.064,-2.171), layer=68, texttype=5))
top.add(gdstk.Label('dn_b', (-4.095,-1.2), layer=68, texttype=5))
top.add(gdstk.Label('net1', (2.975,-7.679), layer=69, texttype=5))
top.add(gdstk.Label('net4', (-8.278,-7.623), layer=69, texttype=5))
top.add(gdstk.Label('net1', (2.192,1.2), layer=69, texttype=5))
top.add(gdstk.Label('net2', (2.158,-4.717), layer=69, texttype=5))
top.add(gdstk.Label('up_b', (0.834,-4.44), layer=69, texttype=5))
top.add(gdstk.Label('REF', (0.78,0.781), layer=69, texttype=5))
top.add(gdstk.Label('net4', (-7.502,1.423), layer=69, texttype=5))
top.add(gdstk.Label('net5', (-7.538,-4.457), layer=69, texttype=5))
top.add(gdstk.Label('dn_b', (-6.238,-4.816), layer=69, texttype=5))
top.add(gdstk.Label('FB', (-6.457,0.672), layer=69, texttype=5))
top.add(gdstk.Label('RST', (-3.12,-2.048), layer=69, texttype=5))
top.add(gdstk.Label('net7', (-2.103,-5.334), layer=69, texttype=5))
top.add(gdstk.Label('RST', (-6.131,-1.365), layer=71, texttype=16))
top.add(gdstk.Label('RST', (-1.582,-1.311), layer=71, texttype=16))
top.add(gdstk.Label('RST', (-6.203,-1.259), layer=71, texttype=5))
top.add(gdstk.Label('RST', (-1.818,-1.355), layer=71, texttype=5))

lib.write_gds('TOP.gds')
